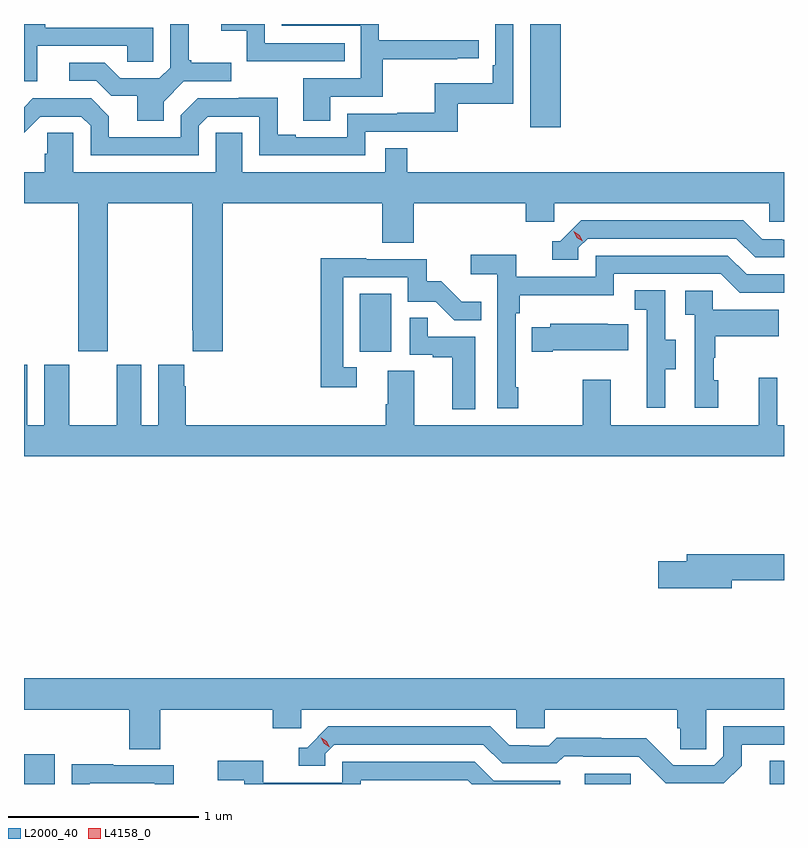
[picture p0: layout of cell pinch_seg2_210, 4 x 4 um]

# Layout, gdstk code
import gdstk
lib = gdstk.Library(unit=1e-6, precision=1e-09)
def R(c, l, rs):  # rectangles x0, y0, x1, y1
    for r in rs: c.add(gdstk.rectangle(r[:2], r[2:], *l))
def P(c, l, *ps):  # polygons
    for p in ps: c.add(gdstk.Polygon(p, *l))
L2000_40 = (2000, 40)
L4158_0 = (4158, 0)

pinch_seg2_210 = lib.new_cell('pinch_seg2_210')
R(pinch_seg2_210, L2000_40, [(974.741,655.236,974.902,655.393), (977.691,655.236,977.934,655.29), (978.665,655.236,978.74,655.358), (976.508,657.51,976.672,657.817), (977.405,658.692,977.566,659.236)])
P(pinch_seg2_210, L2000_40, [(976.427,659.136),(976.008,659.136),(976.008,659.236),(975.779,659.236),(975.779,659.201),(975.912,659.201),(975.912,659.04),(976.427,659.04)],
  [(976.351,658.854),(976.628,658.854),(976.628,659.05),(977.021,659.05),(977.021,659.055),(977.134,659.055),(977.134,659.151),(976.608,659.151),(976.608,659.236),(976.096,659.236),(976.096,659.226),(976.512,659.226),(976.512,658.95),(976.211,658.95),(976.211,658.726),(976.351,658.726)],
  [(974.809,659.121),(975.283,659.121),(975.283,659.037),(975.42,659.037),(975.42,659.217),(974.851,659.217),(974.851,659.236),(974.74,659.236),(974.74,658.935),(974.809,658.935)],
  [(975.66,658.701),(975.708,658.749),(975.978,658.749),(975.978,658.545),(976.536,658.545),(976.536,658.668),(977.023,658.668),(977.023,658.815),(977.316,658.815),(977.316,659.236),(977.22,659.236),(977.22,659.02),(977.207,659.02),(977.207,658.924),(976.902,658.924),(976.902,658.769),(976.705,658.769),(976.705,658.764),(976.44,658.764),(976.44,658.641),(976.171,658.641),(976.171,658.654),(976.075,658.654),(976.075,658.847),(975.87,658.847),(975.87,658.845),(975.654,658.845),(975.564,658.755),(975.564,658.641),(975.187,658.641),(975.187,658.751),(975.093,658.845),(974.787,658.845),(974.74,658.798),(974.74,658.663),(974.826,658.749),(975.042,658.749),(975.09,658.701),(975.09,658.545),(975.66,658.545)],
  [(975.475,658.828),(975.582,658.935),(975.832,658.935),(975.832,659.032),(975.619,659.032),(975.619,659.044),(975.607,659.044),(975.607,659.236),(975.51,659.236),(975.51,659.007),(975.453,658.95),(975.247,658.95),(975.166,659.031),(974.979,659.031),(974.979,658.938),(975.12,658.938),(975.2,658.858),(975.335,658.858),(975.335,658.726),(975.475,658.726)],
  [(975.18,658.292),(975.625,658.292),(975.625,657.625),(975.629,657.625),(975.629,657.513),(975.785,657.513),(975.785,658.292),(976.625,658.292),(976.625,658.084),(976.79,658.084),(976.79,658.292),(977.381,658.292),(977.381,658.194),(977.532,658.194),(977.532,658.292),(978.663,658.292),(978.663,658.194),(978.74,658.194),(978.74,658.456),(976.757,658.456),(976.757,658.583),(976.641,658.583),(976.641,658.456),(975.889,658.456),(975.889,658.664),(975.75,658.664),(975.75,658.456),(975,658.456),(975,658.664),(974.863,658.664),(974.863,658.554),(974.849,658.554),(974.849,658.456),(974.74,658.456),(974.74,658.292),(975.025,658.292),(975.025,657.513),(975.18,657.513)],
  [(977.658,658.059),(977.706,658.107),(978.489,658.107),(978.588,658.008),(978.74,658.008),(978.74,658.101),(978.732,658.101),(978.732,658.104),(978.625,658.104),(978.526,658.203),(977.673,658.203),(977.562,658.092),(977.519,658.092),(977.519,657.996),(977.658,657.996)],
  [(977.341,657.325),(977.328,657.325),(977.328,657.713),(977.348,657.713),(977.348,657.809),(977.844,657.809),(977.844,657.921),(978.408,657.921),(978.507,657.822),(978.74,657.822),(978.74,657.918),(978.544,657.918),(978.445,658.017),(977.748,658.017),(977.748,657.906),(977.33,657.906),(977.33,658.022),(977.091,658.022),(977.091,657.92),(977.232,657.92),(977.232,657.213),(977.341,657.213)],
  [(976.492,657.429),(976.419,657.429),(976.419,657.903),(976.761,657.903),(976.761,657.774),(976.906,657.774),(977.004,657.676),(977.147,657.676),(977.147,657.775),(977.043,657.775),(976.936,657.882),(976.86,657.882),(976.86,657.999),(976.541,657.999),(976.541,658.004),(976.303,658.004),(976.303,657.324),(976.492,657.324)],
  [(978.115,657.418),(978.169,657.418),(978.169,657.573),(978.114,657.573),(978.114,657.836),(977.955,657.836),(977.955,657.733),(978.018,657.733),(978.018,657.429),(978.017,657.429),(978.017,657.216),(978.115,657.216)],
  [(978.394,657.36),(978.369,657.36),(978.369,657.479),(978.379,657.479),(978.379,657.593),(978.713,657.593),(978.713,657.733),(978.366,657.733),(978.366,657.831),(978.219,657.831),(978.219,657.707),(978.27,657.707),(978.27,657.216),(978.394,657.216)],
  [(977.116,657.591),(976.865,657.591),(976.865,657.689),(976.77,657.689),(976.77,657.495),(976.891,657.495),(976.891,657.483),(976.994,657.483),(976.994,657.209),(977.116,657.209)],
  [(977.524,657.518),(977.921,657.518),(977.921,657.655),(977.813,657.655),(977.813,657.658),(977.511,657.658),(977.511,657.64),(977.413,657.64),(977.413,657.511),(977.524,657.511)],
  [(978.74,657.124),(978.705,657.124),(978.705,657.373),(978.608,657.373),(978.608,657.124),(977.827,657.124),(977.827,657.364),(977.68,657.364),(977.68,657.124),(976.795,657.124),(976.795,657.41),(976.655,657.41),(976.655,657.236),(976.643,657.236),(976.643,657.124),(975.59,657.124),(975.59,657.329),(975.583,657.329),(975.583,657.442),(975.446,657.442),(975.446,657.124),(975.358,657.124),(975.358,657.442),(975.227,657.442),(975.227,657.124),(974.977,657.124),(974.977,657.442),(974.846,657.442),(974.846,657.124),(974.758,657.124),(974.758,657.442),(974.74,657.442),(974.74,656.96),(978.74,656.96)],
  [(978.466,656.308),(978.74,656.308),(978.74,656.444),(978.227,656.444),(978.227,656.408),(978.078,656.408),(978.078,656.266),(978.466,656.266)],
  [(975.458,655.628),(976.049,655.628),(976.049,655.53),(976.2,655.53),(976.2,655.628),(977.331,655.628),(977.331,655.53),(977.481,655.53),(977.481,655.628),(978.179,655.628),(978.179,655.53),(978.193,655.53),(978.193,655.42),(978.33,655.42),(978.33,655.628),(978.74,655.628),(978.74,655.792),(974.74,655.792),(974.74,655.628),(975.293,655.628),(975.293,655.42),(975.458,655.42)],
  [(978.517,655.333),(978.517,655.443),(978.74,655.443),(978.74,655.539),(978.42,655.539),(978.42,655.383),(978.372,655.335),(978.156,655.335),(978.014,655.477),(977.778,655.477),(977.778,655.48),(977.545,655.48),(977.503,655.437),(977.4,655.437),(977.4,655.44),(977.293,655.44),(977.194,655.539),(976.341,655.539),(976.23,655.428),(976.187,655.428),(976.187,655.332),(976.326,655.332),(976.326,655.395),(976.374,655.443),(977.157,655.443),(977.256,655.344),(977.545,655.344),(977.584,655.383),(977.683,655.383),(977.683,655.38),(977.976,655.38),(978.117,655.239),(978.423,655.239)],
  [(976.512,655.257),(977.076,655.257),(977.097,655.236),(977.562,655.236),(977.562,655.254),(977.212,655.254),(977.113,655.353),(976.416,655.353),(976.416,655.242),(975.998,655.242),(975.998,655.358),(975.759,655.358),(975.759,655.256),(975.9,655.256),(975.9,655.236),(976.512,655.236)],
  [(975.087,655.239),(975.429,655.239),(975.429,655.236),(975.528,655.236),(975.528,655.335),(975.209,655.335),(975.209,655.34),(974.991,655.34),(974.991,655.236),(975.087,655.236)])
P(pinch_seg2_210, L4158_0, [(976.349,655.429),(976.319,655.448),(976.303,655.481),(976.303,655.481),(976.303,655.481),(976.334,655.461),(976.349,655.429),(976.349,655.429)],
  [(977.681,658.092),(977.65,658.111),(977.634,658.144),(977.634,658.144),(977.634,658.144),(977.665,658.125),(977.681,658.092),(977.681,658.092)])

lib.write_gds('pinch_seg2_210.gds')
